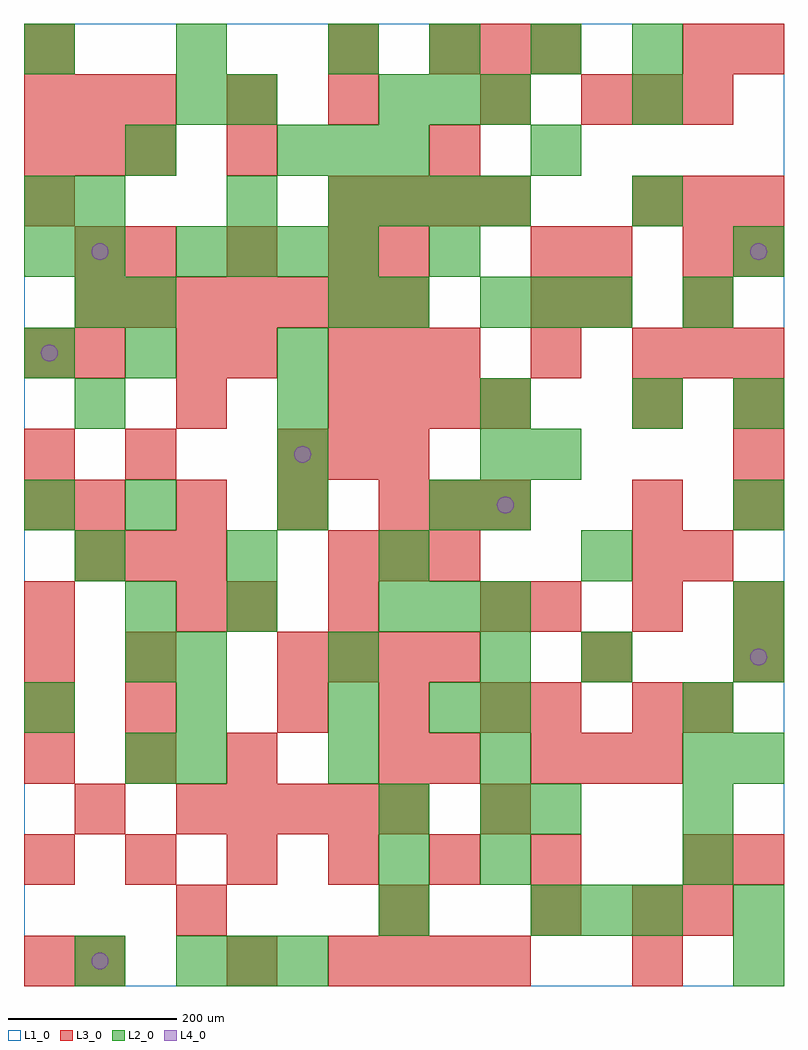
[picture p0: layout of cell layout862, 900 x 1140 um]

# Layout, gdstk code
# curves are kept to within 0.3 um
import gdstk
lib = gdstk.Library(unit=1e-6, precision=1e-09)
def R(c, l, rs):  # rectangles x0, y0, x1, y1
    for r in rs: c.add(gdstk.rectangle(r[:2], r[2:], *l))
def A(c, l, x, y, w, h, nx, ny, dx, dy):  # array of equal rectangles
    R(c, l, [(x+i*dx, y+j*dy, x+i*dx+w, y+j*dy+h) for i in range(nx) for j in range(ny)])
def P(c, l, *ps):  # polygons
    for p in ps: c.add(gdstk.Polygon(p, *l))
L1_0 = (1, 0)
L2_0 = (2, 0)
L3_0 = (3, 0)
L4_0 = (4, 0)

layout862 = lib.new_cell('layout862')
R(layout862, L1_0, [(0,0,900,1140)])
A(layout862, L2_0, 180, 0, 60, 60, 3, 1, 60, 0)
A(layout862, L2_0, 420, 60, 60, 60, 1, 3, 0, 60)
A(layout862, L2_0, 600, 60, 60, 60, 3, 1, 60, 0)
A(layout862, L2_0, 780, 120, 60, 60, 1, 4, 0, 60)
A(layout862, L2_0, 180, 240, 60, 60, 3, 2, 180, 120)
A(layout862, L2_0, 0, 300, 60, 60, 3, 2, 180, 780)
A(layout862, L2_0, 420, 420, 60, 60, 3, 2, 60, 600)
A(layout862, L2_0, 840, 420, 60, 60, 1, 3, 0, 120)
A(layout862, L2_0, 60, 480, 60, 60, 3, 1, 180, 0)
A(layout862, L2_0, 120, 540, 60, 60, 3, 1, 180, 0)
A(layout862, L2_0, 60, 660, 60, 60, 3, 1, 240, 0)
A(layout862, L2_0, 60, 780, 60, 60, 1, 3, 0, 60)
A(layout862, L2_0, 540, 780, 60, 60, 3, 1, 60, 0)
A(layout862, L2_0, 180, 840, 60, 60, 4, 1, 60, 0)
A(layout862, L2_0, 360, 900, 60, 60, 4, 1, 60, 0)
A(layout862, L2_0, 300, 960, 60, 60, 3, 1, 60, 0)
A(layout862, L2_0, 480, 1080, 60, 60, 3, 1, 120, 0)
R(layout862, L2_0, [(60,0,120,60), (840,0,900,60), (840,60,900,120), (540,120,600,180), (540,180,600,240), (600,180,660,240), (120,240,180,300), (840,240,900,300), (480,300,540,360), (540,300,600,360), (120,360,180,420), (660,360,720,420), (840,360,900,420), (120,420,180,480), (240,420,300,480), (660,480,720,540), (0,540,60,600), (540,540,600,600), (300,600,360,660), (540,600,600,660), (600,600,660,660), (720,660,780,720), (0,720,60,780), (120,720,180,780), (300,720,360,780), (120,780,180,840), (360,780,420,840), (420,780,480,840), (780,780,840,840), (0,840,60,900), (480,840,540,900), (840,840,900,900), (0,900,60,960), (240,900,300,960), (720,900,780,960), (120,960,180,1020), (600,960,660,1020), (180,1020,240,1080), (240,1020,300,1080), (720,1020,780,1080)])
A(layout862, L3_0, 360, 0, 60, 60, 4, 2, 60, 660)
A(layout862, L3_0, 0, 120, 60, 60, 6, 1, 120, 0)
A(layout862, L3_0, 780, 120, 60, 60, 1, 3, 0, 180)
A(layout862, L3_0, 180, 180, 60, 60, 5, 1, 60, 0)
A(layout862, L3_0, 0, 240, 60, 60, 3, 1, 120, 0)
A(layout862, L3_0, 600, 240, 60, 60, 3, 1, 60, 0)
A(layout862, L3_0, 0, 300, 60, 60, 1, 3, 0, 60)
A(layout862, L3_0, 300, 300, 60, 60, 3, 1, 120, 0)
A(layout862, L3_0, 300, 360, 60, 60, 4, 1, 60, 0)
A(layout862, L3_0, 600, 420, 60, 60, 3, 1, 120, 0)
A(layout862, L3_0, 60, 480, 60, 60, 3, 1, 60, 0)
A(layout862, L3_0, 360, 480, 60, 60, 3, 2, 60, 240)
A(layout862, L3_0, 60, 540, 60, 60, 4, 1, 120, 0)
A(layout862, L3_0, 840, 540, 60, 60, 1, 3, 0, 60)
A(layout862, L3_0, 300, 600, 60, 60, 3, 1, 60, 0)
A(layout862, L3_0, 0, 720, 60, 60, 1, 3, 0, 180)
A(layout862, L3_0, 600, 720, 60, 60, 1, 3, 0, 60)
A(layout862, L3_0, 720, 720, 60, 60, 3, 2, 60, 180)
A(layout862, L3_0, 60, 780, 60, 60, 7, 1, 60, 0)
A(layout862, L3_0, 120, 840, 60, 60, 3, 1, 120, 0)
A(layout862, L3_0, 360, 900, 60, 60, 4, 1, 60, 0)
A(layout862, L3_0, 0, 960, 60, 60, 3, 2, 60, 60)
A(layout862, L3_0, 660, 1020, 60, 60, 3, 1, 60, 0)
A(layout862, L3_0, 480, 1080, 60, 60, 3, 1, 60, 0)
R(layout862, L3_0, [(0,0,60,60), (60,0,120,60), (240,0,300,60), (720,0,780,60), (180,60,240,120), (420,60,480,120), (600,60,660,120), (720,60,780,120), (780,60,840,120), (840,120,900,180), (60,180,120,240), (540,180,600,240), (420,240,480,300), (480,240,540,300), (120,300,180,360), (600,300,660,360), (720,300,780,360), (120,360,180,420), (660,360,720,420), (840,360,900,420), (180,420,240,480), (240,420,300,480), (360,420,420,480), (540,420,600,480), (720,480,780,540), (0,540,60,600), (480,540,540,600), (540,540,600,600), (720,540,780,600), (0,600,60,660), (120,600,180,660), (180,660,240,720), (720,660,780,720), (60,720,120,780), (180,720,240,780), (240,720,300,780), (660,780,720,840), (780,780,840,840), (60,840,120,900), (420,840,480,900), (660,840,720,900), (780,840,840,900), (840,840,900,900), (240,960,300,1020), (480,960,540,1020), (240,1020,300,1080), (360,1020,420,1080), (540,1020,600,1080), (360,1080,420,1140), (780,1080,840,1140), (840,1080,900,1140)])
P(layout862, L4_0, [(40,750),(39.239,753.827),(37.071,757.071),(33.827,759.239),(30,760),(26.173,759.239),(22.929,757.071),(20.761,753.827),(20,750),(20.761,746.173),(22.929,742.929),(26.173,740.761),(30,740),(33.827,740.761),(37.071,742.929),(39.239,746.173)],
  [(100,30),(99.239,33.827),(97.071,37.071),(93.827,39.239),(90,40),(86.173,39.239),(82.929,37.071),(80.761,33.827),(80,30),(80.761,26.173),(82.929,22.929),(86.173,20.761),(90,20),(93.827,20.761),(97.071,22.929),(99.239,26.173)],
  [(100,870),(99.239,873.827),(97.071,877.071),(93.827,879.239),(90,880),(86.173,879.239),(82.929,877.071),(80.761,873.827),(80,870),(80.761,866.173),(82.929,862.929),(86.173,860.761),(90,860),(93.827,860.761),(97.071,862.929),(99.239,866.173)],
  [(340,630),(339.239,633.827),(337.071,637.071),(333.827,639.239),(330,640),(326.173,639.239),(322.929,637.071),(320.761,633.827),(320,630),(320.761,626.173),(322.929,622.929),(326.173,620.761),(330,620),(333.827,620.761),(337.071,622.929),(339.239,626.173)],
  [(580,570),(579.239,573.827),(577.071,577.071),(573.827,579.239),(570,580),(566.173,579.239),(562.929,577.071),(560.761,573.827),(560,570),(560.761,566.173),(562.929,562.929),(566.173,560.761),(570,560),(573.827,560.761),(577.071,562.929),(579.239,566.173)],
  [(880,390),(879.239,393.827),(877.071,397.071),(873.827,399.239),(870,400),(866.173,399.239),(862.929,397.071),(860.761,393.827),(860,390),(860.761,386.173),(862.929,382.929),(866.173,380.761),(870,380),(873.827,380.761),(877.071,382.929),(879.239,386.173)],
  [(880,870),(879.239,873.827),(877.071,877.071),(873.827,879.239),(870,880),(866.173,879.239),(862.929,877.071),(860.761,873.827),(860,870),(860.761,866.173),(862.929,862.929),(866.173,860.761),(870,860),(873.827,860.761),(877.071,862.929),(879.239,866.173)])

lib.write_gds('layout862.gds')
